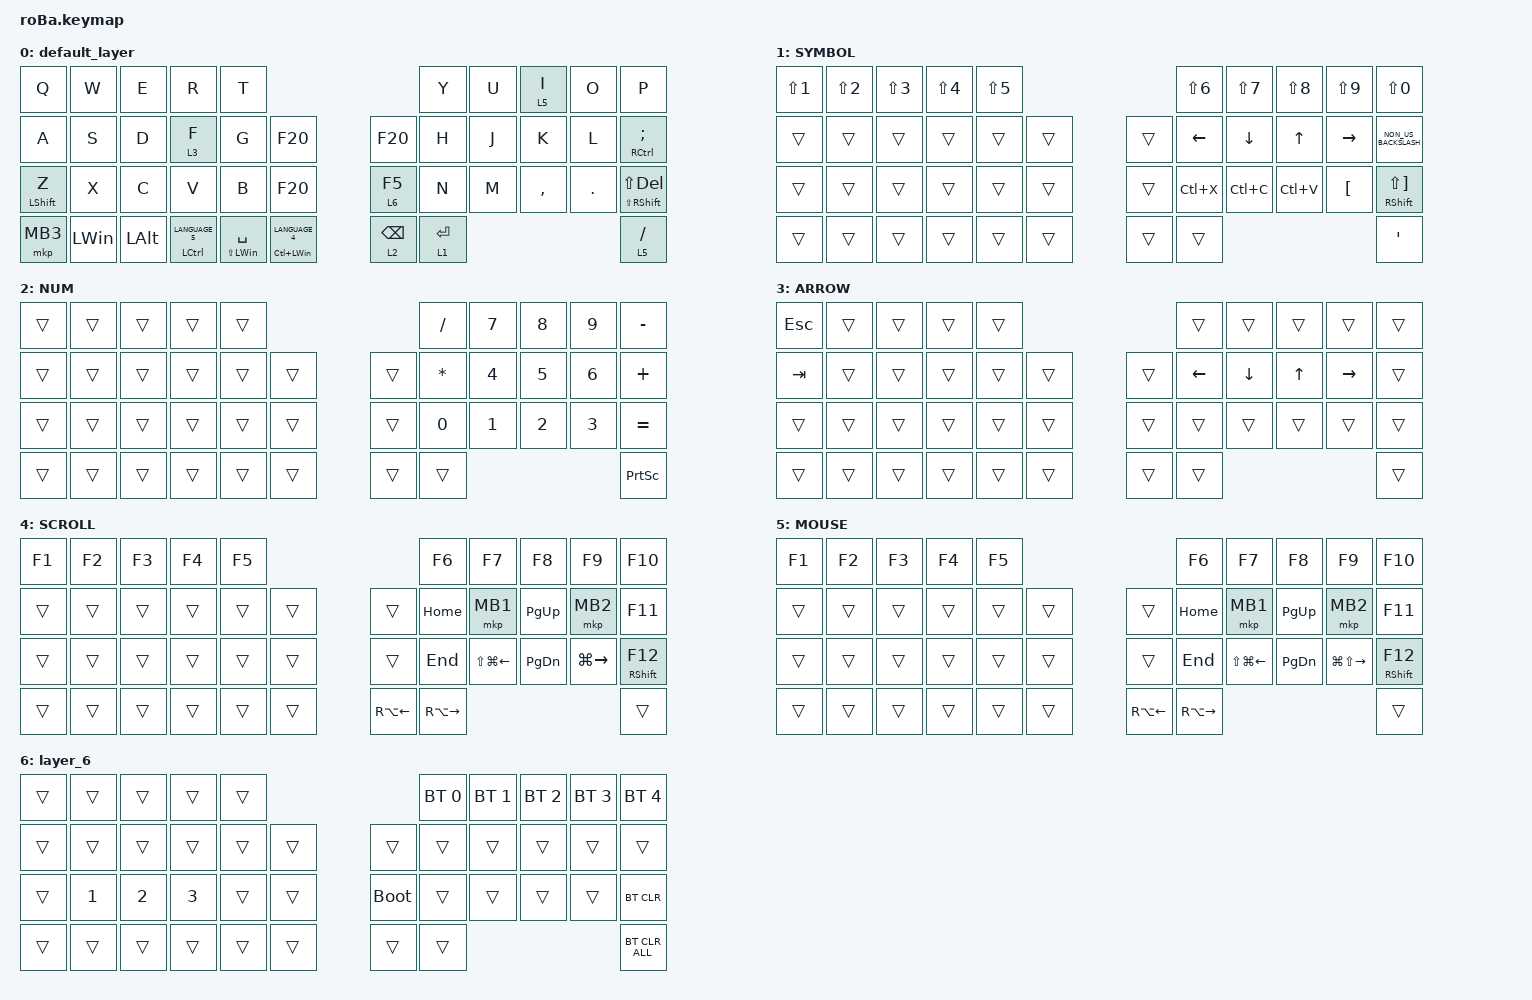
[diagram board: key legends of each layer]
#include <dt-bindings/zmk/mouse.h>
#include <behaviors.dtsi>
#include <dt-bindings/zmk/bt.h>
#include <dt-bindings/zmk/keys.h>
#include <dt-bindings/zmk/pointing.h>

#define MOUSE 4
#define SCROLL 5
#define NUM 6

&mt {
    flavor = "balanced";
    quick-tap-ms = <0>;
};

/ {
    combos {
        compatible = "zmk,combos";

        mouse_left {
            bindings = <&mkp MB1>;
            key-positions = <17 18>;
        };

        mouse_right {
            bindings = <&mkp MB2>;
            key-positions = <19 20>;
        };

        mouse_cent {
            bindings = <&mkp MB3>;
            key-positions = <19 18>;
        };

        win {
            bindings = <&none>;
            key-positions = <38 37>;
        };

        Lalt {
            bindings = <&none>;
            key-positions = <38 39>;
        };

        Ralt {
            bindings = <&none>;
            key-positions = <40 41>;
        };

        tab {
            bindings = <&none>;
            key-positions = <21 9>;
        };
    };

    macros {
        to_layer_0: to_layer_0 {
            compatible = "zmk,behavior-macro-one-param";
            #binding-cells = <1>;
            bindings = <&to 0 &macro_param_1to1 &kp MACRO_PLACEHOLDER>;
            label = "TO_LAYER_0";
        };
    };

    behaviors {
        lt_to_layer_0: lt_to_layer_0 {
            compatible = "zmk,behavior-hold-tap";
            label = "LAYER_TAP_TO_0";
            bindings = <&mo>, <&to_layer_0>;

            #binding-cells = <2>;
            tapping-term-ms = <200>;
        };
    };

    keymap {
        compatible = "zmk,keymap";

        default_layer {
            bindings = <
&kp Q             &kp W         &kp E         &kp R                 &kp T                                                                   &kp Y        &kp U  &lt 5 I    &kp O    &kp P
&kp A             &kp S         &kp D         &lt 3 F               &kp G                   &kp F20                        &kp F20          &kp H        &kp J  &kp K      &kp L    &mt RCTRL SEMICOLON
&mt LEFT_SHIFT Z  &kp X         &kp C         &kp V                 &kp B                   &kp F20                        &lt 6 F5         &kp N        &kp M  &kp COMMA  &kp DOT  &mt LS(RIGHT_SHIFT) LS(DELETE)
&mkp MB3          &kp LEFT_WIN  &kp LEFT_ALT  &mt LCTRL LANGUAGE_5  &mt LS(LEFT_WIN) SPACE  &mt LC(LEFT_WIN) LANGUAGE_4    &lt 2 BACKSPACE  &lt 1 ENTER                             &lt 5 SLASH
            >;
        };

        SYMBOL {
            bindings = <
&kp LS(NUMBER_1)  &kp LS(NUMBER_2)  &kp LS(NUMBER_3)  &kp LS(NUMBER_4)  &kp LS(N5)                    &kp LS(NUMBER_6)  &kp LS(N7)  &kp LS(N8)    &kp LS(N9)        &kp LS(N0)
&trans            &trans            &trans            &trans            &trans      &trans    &trans  &kp LEFT          &kp DOWN    &kp UP_ARROW  &kp RIGHT         &kp NON_US_BACKSLASH
&trans            &trans            &trans            &trans            &trans      &trans    &trans  &kp LC(X)         &kp LC(C)   &kp LC(V)     &kp LEFT_BRACKET  &mt RIGHT_SHIFT LS(RIGHT_BRACKET)
&trans            &trans            &trans            &trans            &trans      &trans    &trans  &trans                                                        &kp SQT
            >;
        };

        NUM {
            bindings = <
&trans  &trans  &trans  &trans  &trans                    &kp SLASH     &kp N7        &kp N8        &kp N9        &kp MINUS
&trans  &trans  &trans  &trans  &trans  &trans    &trans  &kp ASTERISK  &kp NUMBER_4  &kp N5        &kp NUMBER_6  &kp PLUS
&trans  &trans  &trans  &trans  &trans  &trans    &trans  &kp N0        &kp NUMBER_1  &kp NUMBER_2  &kp NUMBER_3  &kp EQUAL
&trans  &trans  &trans  &trans  &trans  &trans    &trans  &trans                                                  &kp PRINTSCREEN
            >;
        };

        ARROW {
            bindings = <
&kp ESCAPE  &trans  &trans  &trans  &trans                    &trans    &trans    &trans        &trans     &trans
&kp TAB     &trans  &trans  &trans  &trans  &trans    &trans  &kp LEFT  &kp DOWN  &kp UP_ARROW  &kp RIGHT  &trans
&trans      &trans  &trans  &trans  &trans  &trans    &trans  &trans    &trans    &trans        &trans     &trans
&trans      &trans  &trans  &trans  &trans  &trans    &trans  &trans                                       &trans
            >;
        };

        SCROLL {
            bindings = <
&kp F1  &kp F2  &kp F3  &kp F4  &kp F5                                &kp F6               &kp F7                  &kp F8         &kp F9               &kp F10
&trans  &trans  &trans  &trans  &trans  &trans    &trans              &kp HOME             &mkp MB1                &kp PAGE_UP    &mkp MB2             &kp F11
&trans  &trans  &trans  &trans  &trans  &trans    &trans              &kp END              &kp LS(LG(LEFT_ARROW))  &kp PAGE_DOWN  &kp LG(RIGHT_ARROW)  &mt RIGHT_SHIFT F12
&trans  &trans  &trans  &trans  &trans  &trans    &kp RA(LEFT_ARROW)  &kp RA(RIGHT_ARROW)                                                              &trans
            >;
        };

        MOUSE {
            bindings = <
&kp F1  &kp F2  &kp F3  &kp F4  &kp F5                                &kp F6               &kp F7            &kp F8         &kp F9                   &kp F10
&trans  &trans  &trans  &trans  &trans  &trans    &trans              &kp HOME             &mkp MB1          &kp PAGE_UP    &mkp MB2                 &kp F11
&trans  &trans  &trans  &trans  &trans  &trans    &trans              &kp END              &kp LS(LG(LEFT))  &kp PAGE_DOWN  &kp LG(LS(RIGHT_ARROW))  &mt RIGHT_SHIFT F12
&trans  &trans  &trans  &trans  &trans  &trans    &kp RA(LEFT_ARROW)  &kp RA(RIGHT_ARROW)                                                            &trans
            >;
        };

        layer_6 {
            bindings = <
&trans  &trans        &trans        &trans        &trans                         &bt BT_SEL 0  &bt BT_SEL 1  &bt BT_SEL 2  &bt BT_SEL 3  &bt BT_SEL 4
&trans  &trans        &trans        &trans        &trans  &trans    &trans       &trans        &trans        &trans        &trans        &trans
&trans  &kp NUMBER_1  &kp NUMBER_2  &kp NUMBER_3  &trans  &trans    &bootloader  &trans        &trans        &trans        &trans        &bt BT_CLR
&trans  &trans        &trans        &trans        &trans  &trans    &trans       &trans                                                  &bt BT_CLR_ALL
            >;
        };
    };
};
